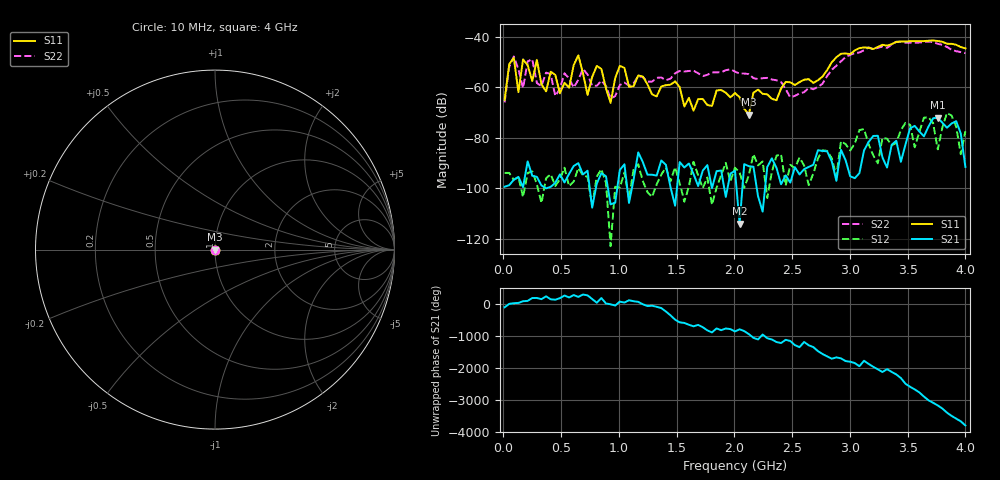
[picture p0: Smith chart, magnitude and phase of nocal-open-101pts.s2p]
! PocketVna 1.81  pocketvna.com
! Live measurements ((Reflection-S11, Transmission-S21, Transmission-S12, Reflection-S22) Linear 10000000-4000000000/101 non-calibrated)
# GHz S MA R 50
! GHz  |S11|  <S11  |S21|  <S21  |S12|  <S12  |S22|  <S22
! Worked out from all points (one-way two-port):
!   101 points, 10 MHz to 4 GHz, reference 50 ohm
!   highest |S21| = -72.05 dB at 3.761 GHz (marker M1); lowest = -114.0 dB at 2.045 GHz (marker M2)
!   lowest |S11| = -70.8 dB at 2.125 GHz (marker M3), VSWR 1.00, Z = 50 + j0.00711 ohm
!   |S11| at or under -10 dB: start of sweep to end of sweep
!   |S22| runs from -66.0 to -41.9 dB; largest |S21 - S12| = 0.00032
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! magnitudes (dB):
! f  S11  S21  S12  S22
! 10 MHz  -65.0  -99.4  -93.9  -66.0
! 89.8 MHz  -48.3  -96.6  -96.7  -47.8
! 129.7 MHz  -61.9  -95.5  -95.6  -52.8
! 169.6 MHz  -49.0  -99.6  -103.4  -60.3
! 209.5 MHz  -51.2  -89.3  -93.9  -49.8
! 369.1 MHz  -61.6  -100.1  -96.0  -54.2
! 448.9 MHz  -55.1  -97.9  -99.1  -63.4
! 688.3 MHz  -54.4  -94.5  -94.9  -52.7
! 728.2 MHz  -63.1  -93.0  -95.4  -54.9
! 847.9 MHz  -52.7  -94.0  -92.4  -57.4
! 927.7 MHz  -66.2  -106.4  -122.9  -64.5
! 1.008 GHz  -51.5  -92.8  -99.7  -59.1
! 1.367 GHz  -59.7  -89.0  -94.6  -56.1
! 1.646 GHz  -69.3  -94.3  -89.5  -53.4
! 2.005 GHz  -62.3  -93.0  -91.8  -53.8
! 2.045 GHz  -63.9  -114.0  -93.8  -54.6
! 2.125 GHz  -70.8  -91.2  -94.9  -54.8
! 2.683 GHz  -58.3  -90.7  -94.1  -60.8
! 3.362 GHz  -42.9  -82.8  -83.0  -43.1
! 3.761 GHz  -41.7  -72.1  -84.6  -42.8
! 3.84 GHz  -42.7  -76.0  -70.1  -44.0
! 4 GHz  -44.6  -91.6  -77.4  -46.5
